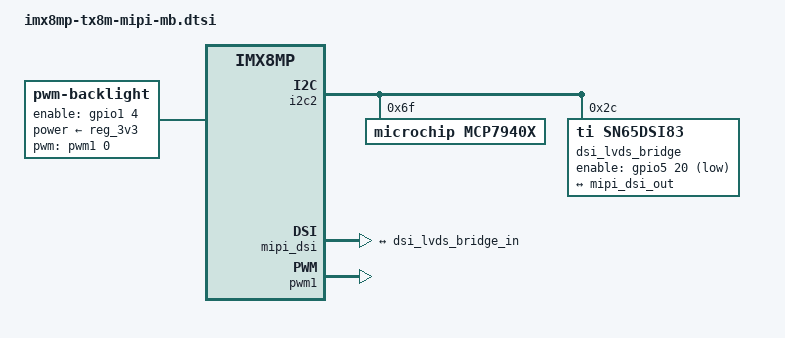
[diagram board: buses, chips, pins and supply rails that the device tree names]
// SPDX-License-Identifier: (GPL-2.0 OR MIT)
/*
 * Copyright 2019 Lothar Waßmann <LW@KARO-electronics.de>
 *
 */

#include <dt-bindings/interrupt-controller/irq.h>
#include <dt-bindings/pwm/pwm.h>

/ {
	backlight: backlight {
		compatible = "pwm-backlight";
		pinctrl-names = "default";
		pinctrl-0 = <&pinctrl_lcd_en>;
		pwms = <&pwm1 0 500000>;
		turn-on-delay-ms = <35>;
		enable-gpios = <&gpio1 4 GPIO_ACTIVE_HIGH>;
		power-supply = <&reg_3v3>;
		brightness-levels = < 0	 1  2  3  4  5	6  7  8	 9
				     10 11 12 13 14 15 16 17 18 19
				     20 21 22 23 24 25 26 27 28 29
				     30 31 32 33 34 35 36 37 38 39
				     40 41 42 43 44 45 46 47 48 49
				     50 51 52 53 54 55 56 57 58 59
				     60 61 62 63 64 65 66 67 68 69
				     70 71 72 73 74 75 76 77 78 79
				     80 81 82 83 84 85 86 87 88 89
				     90 91 92 93 94 95 96 97 98 99
				    100>;
		default-brightness-level = <50>;
	};

	mcp_clock: mcp-clock {
		compatible = "fixed-clock";
		#clock-cells = <0>;
		clock-frequency = <16000000>;
	};
};

&ecspi1 {
	pinctrl-names = "default";
	pinctrl-0 = <&pinctrl_ecspi1>;
	spi-max-frequency = <25000000>;
	cs-gpios = <&gpio5 9 GPIO_ACTIVE_LOW>;
	status = "disabled";

	can0: can@0 {
		compatible = "microchip,mcp2515";
		reg = <0>;
		pinctrl-names = "default";
		pinctrl-0 = <&pinctrl_can0>;
		clocks = <&mcp_clock>;
		interrupt-parent = <&gpio3>;
		interrupts = <11 IRQ_TYPE_LEVEL_LOW>;
		spi-max-frequency = <10000000>;
	};
};

&i2c2 {
	mcp7940x@6f {
		compatible = "microchip,mcp7940x";
		reg = <0x6f>;
	};

	dsi_lvds_bridge: sn65dsi84@2c {
		compatible = "ti,sn65dsi83";
		reg = <0x2c>;
		ti,dsi-lanes = <4>;
		ti,lvds-format = <2>;
		ti,lvds-bpp = <24>;
		ti,width-mm = <217>;
		ti,height-mm = <136>;
		enable-gpios = <&gpio5 20 GPIO_ACTIVE_LOW>;
		pinctrl-names = "default";
		pinctrl-0 = <&pinctrl_lvds>;
		status = "okay";

		display-timings {
			lvds {
				clock-frequency = <62500000>;
				hactive = <1280>;
				vactive = <800>;
				hback-porch = <6>;
				hfront-porch = <5>;
				vback-porch = <2>;
				vfront-porch = <3>;
				hsync-len = <2>;
				vsync-len = <1>;
				hsync-active = <0>;
				vsync-active = <0>;
				de-active = <0>;
				pixelclk-active = <0>;
			};
		};

		port {
			dsi_lvds_bridge_in: endpoint {
				remote-endpoint = <&mipi_dsi_out>;
			};
		};
	};
};

&iomuxc {
	pinctrl_can0: can0grp {
		fsl,pins = <
			MX8MP_IOMUXC_SAI1_TXD3__GPIO4_IO15	0x156
			MX8MP_IOMUXC_ECSPI1_SS0__GPIO5_IO09	0x156
		>;

	};

	pinctrl_ecspi1: ecspi1grp {
		fsl,pins = <
			MX8MP_IOMUXC_ECSPI1_SCLK__ECSPI1_SCLK	0x156
			MX8MP_IOMUXC_ECSPI1_MOSI__ECSPI1_MOSI	0x156
			MX8MP_IOMUXC_ECSPI1_MISO__ECSPI1_MISO	0x156
		>;

	};
};

&mipi_dsi {
	status = "okay";

	port@1 {
		mipi_dsi_out: endpoint {
			remote-endpoint = <&dsi_lvds_bridge_in>;
			attach-bridge;
		};
	};
};

&pwm1 {
	pinctrl-names = "default";
	pinctrl-0 = <&pinctrl_pwm1>;
	status = "okay";
};

&usdhc2 {
	pinctrl-0 = <&pinctrl_usdhc2>;
	pinctrl-1 = <&pinctrl_usdhc2_100mhz>;
	pinctrl-2 = <&pinctrl_usdhc2_200mhz>;
	/delete-property/ cd-gpios;
	no-mmc;
//	broken-cd;
};

&iomuxc {
	pinctrl_pwm1: pwm1grp {
		fsl,pins = <
			MX8MP_IOMUXC_GPIO1_IO01__PWM1_OUT		0x06
		>;
	};

	pinctrl_lcd_en: lcd-engrp {
		fsl,pins = <
			MX8MP_IOMUXC_GPIO1_IO04__GPIO1_IO04		0x146
		>;
	};

	pinctrl_lvds: lvdsgrp {
		fsl,pins = <
			MX8MP_IOMUXC_I2C4_SCL__GPIO5_IO20		0x146
		>;
	};
};
